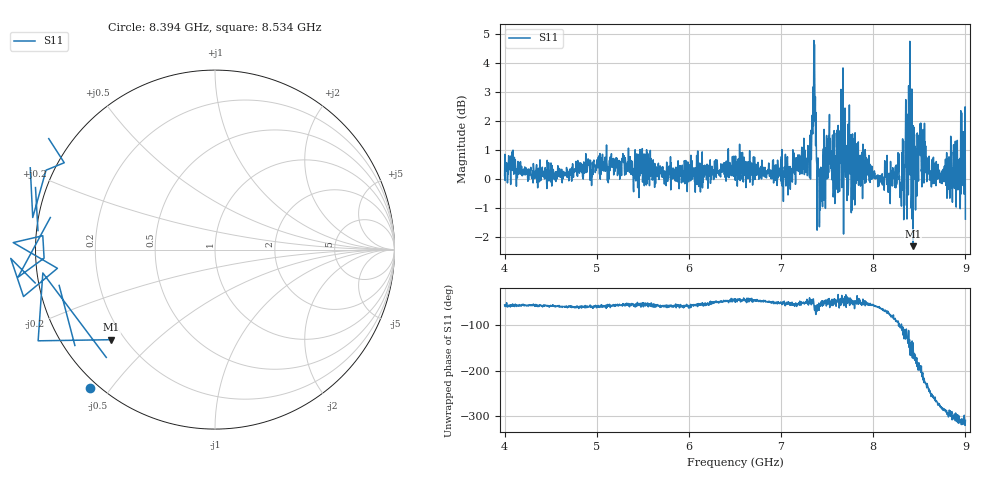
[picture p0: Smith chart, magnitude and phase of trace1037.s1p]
! Created with skrf 1.8.0 (http://scikit-rf.org).
# Hz S RI R 50.0
!freq ReS11 ImS11
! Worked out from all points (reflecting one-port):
!   1601 points, 4 GHz to 9 GHz, reference 50 ohm
!   lowest |S11| = -2.3 dB at 8.431 GHz (marker M1), VSWR 7.54, Z = 7.54 - j18.3 ohm
!   phase of S11 starts at -57 deg and turns -253 deg over the sweep
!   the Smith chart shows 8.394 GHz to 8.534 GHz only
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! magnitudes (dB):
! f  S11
! 4 GHz  0.1
! 4.066 GHz  -0.2
! 4.625 GHz  -0.1
! 5.25 GHz  0.0
! 5.875 GHz  0.2
! 6.5 GHz  0.6
! 7.125 GHz  0.2
! 7.294 GHz  0.6
! 7.356 GHz  4.8
! 7.378 GHz  2.3
! 7.4 GHz  0.7
! 7.412 GHz  0.3
! 7.519 GHz  1.5
! 7.609 GHz  1.7
! 7.65 GHz  3.1
! 7.75 GHz  0.6
! 7.784 GHz  -0.6
! 7.828 GHz  0.0
! 8.316 GHz  -0.2
! 8.356 GHz  1.8
! 8.375 GHz  0.5
! 8.431 GHz  -2.3
! 8.447 GHz  1.5
! 8.522 GHz  0.3
! 8.634 GHz  0.2
! 8.812 GHz  0.6
! 8.972 GHz  0.7
! 9 GHz  -1.4
